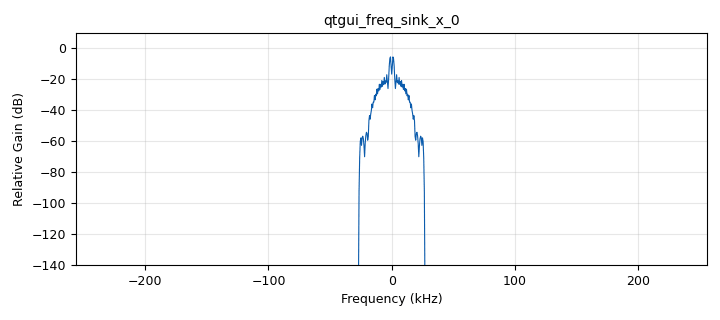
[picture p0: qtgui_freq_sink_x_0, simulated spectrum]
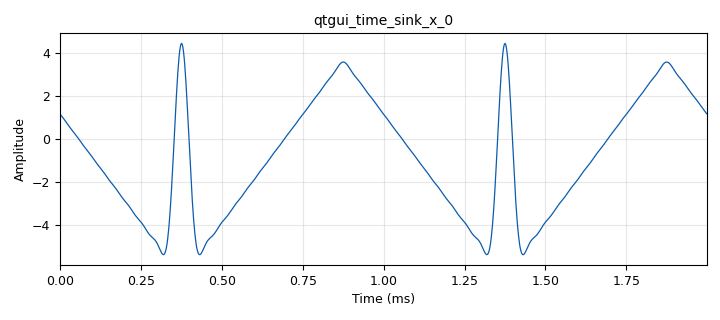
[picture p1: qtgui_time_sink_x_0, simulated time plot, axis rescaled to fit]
options:
  parameters:
    author: gnuradio
    generate_options: qt_gui
    id: untitled1
    output_language: python
    title: Not titled yet
  states: {}

blocks:
- name: samp_rate
  id: variable
  parameters:
    value: '512000'
  states: {}
- name: analog_sig_source_x_0
  id: analog_sig_source_x
  parameters:
    amp: '-5/6'
    freq: '0'
    offset: '0'
    phase: '0'
    samp_rate: samp_rate
    type: float
    waveform: analog.GR_CONST_WAVE
  states: {}
- name: analog_sig_source_x_0_0
  id: analog_sig_source_x
  parameters:
    amp: 1.505*2
    freq: '1000'
    offset: '0'
    phase: '-3.1416'
    samp_rate: samp_rate
    type: float
    waveform: analog.GR_COS_WAVE
  states: {}
- name: analog_sig_source_x_0_0_0
  id: analog_sig_source_x
  parameters:
    amp: 0.5271*2
    freq: '2000'
    offset: '0'
    phase: '0'
    samp_rate: samp_rate
    type: float
    waveform: analog.GR_COS_WAVE
  states: {}
- name: analog_sig_source_x_0_0_0_0
  id: analog_sig_source_x
  parameters:
    amp: 0.2823*2
    freq: '3000'
    offset: '0'
    phase: '0'
    samp_rate: samp_rate
    type: float
    waveform: analog.GR_COS_WAVE
  states: {}
- name: analog_sig_source_x_0_0_0_0_0
  id: analog_sig_source_x
  parameters:
    amp: 0.4853*2
    freq: '4000'
    offset: '0'
    phase: '0'
    samp_rate: samp_rate
    type: float
    waveform: analog.GR_COS_WAVE
  states: {}
- name: analog_sig_source_x_0_0_0_0_0_0
  id: analog_sig_source_x
  parameters:
    amp: 0.3739*2
    freq: '5000'
    offset: '0'
    phase: '0'
    samp_rate: samp_rate
    type: float
    waveform: analog.GR_COS_WAVE
  states: {}
- name: analog_sig_source_x_0_0_0_0_0_0_0
  id: analog_sig_source_x
  parameters:
    amp: 0.4214*2
    freq: '6000'
    offset: '0'
    phase: '0'
    samp_rate: samp_rate
    type: float
    waveform: analog.GR_COS_WAVE
  states: {}
- name: analog_sig_source_x_0_0_0_0_0_0_0_0
  id: analog_sig_source_x
  parameters:
    amp: 0.3420*2
    freq: '7000'
    offset: '0'
    phase: '0'
    samp_rate: samp_rate
    type: float
    waveform: analog.GR_COS_WAVE
  states: {}
- name: analog_sig_source_x_0_0_0_0_0_0_0_0_0
  id: analog_sig_source_x
  parameters:
    amp: 0.3434*2
    freq: '8000'
    offset: '0'
    phase: '0'
    samp_rate: samp_rate
    type: float
    waveform: analog.GR_COS_WAVE
  states: {}
- name: analog_sig_source_x_0_0_0_0_0_0_0_0_0_0
  id: analog_sig_source_x
  parameters:
    amp: 0.2767*2
    freq: '9000'
    offset: '0'
    phase: '0'
    samp_rate: samp_rate
    type: float
    waveform: analog.GR_COS_WAVE
  states: {}
- name: analog_sig_source_x_0_0_0_0_0_0_0_0_0_0_0
  id: analog_sig_source_x
  parameters:
    amp: 0.2603*2
    freq: '10000'
    offset: '0'
    phase: '0'
    samp_rate: samp_rate
    type: float
    waveform: analog.GR_COS_WAVE
  states: {}
- name: analog_sig_source_x_0_0_0_0_0_0_0_0_0_0_0_0
  id: analog_sig_source_x
  parameters:
    amp: 0.2026*2
    freq: '11000'
    offset: '0'
    phase: '0'
    samp_rate: samp_rate
    type: float
    waveform: analog.GR_COS_WAVE
  states: {}
- name: analog_sig_source_x_0_0_0_0_0_0_0_0_0_0_0_0_0
  id: analog_sig_source_x
  parameters:
    amp: 0.1807*2
    freq: '12000'
    offset: '0'
    phase: '0'
    samp_rate: samp_rate
    type: float
    waveform: analog.GR_COS_WAVE
  states: {}
- name: analog_sig_source_x_0_0_0_0_0_0_0_0_0_0_0_0_0_0
  id: analog_sig_source_x
  parameters:
    amp: 0.1326*2
    freq: '13000'
    offset: '0'
    phase: '0'
    samp_rate: samp_rate
    type: float
    waveform: analog.GR_COS_WAVE
  states: {}
- name: analog_sig_source_x_0_0_0_0_0_0_0_0_0_0_0_0_0_0_0
  id: analog_sig_source_x
  parameters:
    amp: 0.1121*2
    freq: '14000'
    offset: '0'
    phase: '0'
    samp_rate: samp_rate
    type: float
    waveform: analog.GR_COS_WAVE
  states: {}
- name: analog_sig_source_x_0_0_0_0_0_0_0_0_0_0_0_1
  id: analog_sig_source_x
  parameters:
    amp: 0.0745*2
    freq: '15000'
    offset: '0'
    phase: '0'
    samp_rate: samp_rate
    type: float
    waveform: analog.GR_COS_WAVE
  states: {}
- name: analog_sig_source_x_0_0_0_0_0_0_0_0_0_0_0_1_0
  id: analog_sig_source_x
  parameters:
    amp: 0.05926*2
    freq: '16000'
    offset: '0'
    phase: '0'
    samp_rate: samp_rate
    type: float
    waveform: analog.GR_COS_WAVE
  states: {}
- name: analog_sig_source_x_0_0_0_0_0_0_0_0_0_0_0_1_0_0
  id: analog_sig_source_x
  parameters:
    amp: 0.03235*2
    freq: '17000'
    offset: '0'
    phase: '0'
    samp_rate: samp_rate
    type: float
    waveform: analog.GR_COS_WAVE
  states: {}
- name: analog_sig_source_x_0_0_0_0_0_0_0_0_0_0_0_1_0_0_0
  id: analog_sig_source_x
  parameters:
    amp: 0.02396*2
    freq: '18000'
    offset: '0'
    phase: '0'
    samp_rate: samp_rate
    type: float
    waveform: analog.GR_COS_WAVE
  states: {}
- name: analog_sig_source_x_0_0_0_0_0_0_0_0_0_0_0_1_0_0_0_0
  id: analog_sig_source_x
  parameters:
    amp: 0.007038*2
    freq: '19000'
    offset: '0'
    phase: '0'
    samp_rate: samp_rate
    type: float
    waveform: analog.GR_COS_WAVE
  states: {}
- name: analog_sig_source_x_0_0_0_0_0_0_0_0_0_0_0_1_0_0_0_0_0
  id: analog_sig_source_x
  parameters:
    amp: 0.00527*2
    freq: '20000'
    offset: '0'
    phase: '0'
    samp_rate: samp_rate
    type: float
    waveform: analog.GR_COS_WAVE
  states: {}
- name: analog_sig_source_x_0_0_0_0_0_0_0_0_0_0_0_1_0_0_0_0_0_0
  id: analog_sig_source_x
  parameters:
    amp: 0.003413*2
    freq: '21000'
    offset: '0'
    phase: '3.142'
    samp_rate: samp_rate
    type: float
    waveform: analog.GR_COS_WAVE
  states: {}
- name: analog_sig_source_x_0_0_0_0_0_0_0_0_0_0_0_1_0_0_0_0_0_0_0
  id: analog_sig_source_x
  parameters:
    amp: 0*2
    freq: '22000'
    offset: '0'
    phase: '0'
    samp_rate: samp_rate
    type: float
    waveform: analog.GR_COS_WAVE
  states: {}
- name: analog_sig_source_x_0_0_0_0_0_0_0_0_0_0_0_1_0_0_0_0_0_0_0_0
  id: analog_sig_source_x
  parameters:
    amp: 0.002846*2
    freq: '23000'
    offset: '0'
    phase: '3.1415'
    samp_rate: samp_rate
    type: float
    waveform: analog.GR_COS_WAVE
  states: {}
- name: analog_sig_source_x_0_0_0_0_0_0_0_0_0_0_0_1_0_0_0_0_0_0_0_0_0
  id: analog_sig_source_x
  parameters:
    amp: 0.00366*2
    freq: '24000'
    offset: '0'
    phase: '0'
    samp_rate: samp_rate
    type: float
    waveform: analog.GR_COS_WAVE
  states: {}
- name: analog_sig_source_x_0_0_0_0_0_0_0_0_0_0_0_1_0_0_0_0_0_0_0_0_0_0
  id: analog_sig_source_x
  parameters:
    amp: 0.004065*2
    freq: '25000'
    offset: '0'
    phase: '0'
    samp_rate: samp_rate
    type: float
    waveform: analog.GR_COS_WAVE
  states: {}
- name: blocks_add_xx_0
  id: blocks_add_xx
  parameters:
    num_inputs: '26'
    type: float
  states: {}
- name: blocks_throttle_0
  id: blocks_throttle
  parameters:
    samples_per_second: samp_rate
    type: float
  states: {}
- name: qtgui_freq_sink_x_0
  id: qtgui_freq_sink_x
  parameters:
    average: '0.05'
    bw: samp_rate
    fc: '0'
    fftsize: '1024'
    type: float
  states: {}
- name: qtgui_time_sink_x_0
  id: qtgui_time_sink_x
  parameters:
    size: '1024'
    srate: samp_rate
    type: float
  states: {}

connections:
- [analog_sig_source_x_0, '0', blocks_add_xx_0, '0']
- [analog_sig_source_x_0_0, '0', blocks_add_xx_0, '1']
- [analog_sig_source_x_0_0_0, '0', blocks_add_xx_0, '2']
- [analog_sig_source_x_0_0_0_0, '0', blocks_add_xx_0, '3']
- [analog_sig_source_x_0_0_0_0_0, '0', blocks_add_xx_0, '4']
- [analog_sig_source_x_0_0_0_0_0_0, '0', blocks_add_xx_0, '5']
- [analog_sig_source_x_0_0_0_0_0_0_0, '0', blocks_add_xx_0, '6']
- [analog_sig_source_x_0_0_0_0_0_0_0_0, '0', blocks_add_xx_0, '7']
- [analog_sig_source_x_0_0_0_0_0_0_0_0_0, '0', blocks_add_xx_0, '8']
- [analog_sig_source_x_0_0_0_0_0_0_0_0_0_0, '0', blocks_add_xx_0, '9']
- [analog_sig_source_x_0_0_0_0_0_0_0_0_0_0_0, '0', blocks_add_xx_0, '10']
- [analog_sig_source_x_0_0_0_0_0_0_0_0_0_0_0_0, '0', blocks_add_xx_0, '11']
- [analog_sig_source_x_0_0_0_0_0_0_0_0_0_0_0_0_0, '0', blocks_add_xx_0, '12']
- [analog_sig_source_x_0_0_0_0_0_0_0_0_0_0_0_0_0_0, '0', blocks_add_xx_0, '13']
- [analog_sig_source_x_0_0_0_0_0_0_0_0_0_0_0_0_0_0_0, '0', blocks_add_xx_0, '14']
- [analog_sig_source_x_0_0_0_0_0_0_0_0_0_0_0_1, '0', blocks_add_xx_0, '15']
- [analog_sig_source_x_0_0_0_0_0_0_0_0_0_0_0_1_0, '0', blocks_add_xx_0, '16']
- [analog_sig_source_x_0_0_0_0_0_0_0_0_0_0_0_1_0_0, '0', blocks_add_xx_0, '17']
- [analog_sig_source_x_0_0_0_0_0_0_0_0_0_0_0_1_0_0_0, '0', blocks_add_xx_0, '18']
- [analog_sig_source_x_0_0_0_0_0_0_0_0_0_0_0_1_0_0_0_0, '0', blocks_add_xx_0, '19']
- [analog_sig_source_x_0_0_0_0_0_0_0_0_0_0_0_1_0_0_0_0_0, '0', blocks_add_xx_0, '20']
- [analog_sig_source_x_0_0_0_0_0_0_0_0_0_0_0_1_0_0_0_0_0_0, '0', blocks_add_xx_0, '21']
- [analog_sig_source_x_0_0_0_0_0_0_0_0_0_0_0_1_0_0_0_0_0_0_0, '0', blocks_add_xx_0, '22']
- [analog_sig_source_x_0_0_0_0_0_0_0_0_0_0_0_1_0_0_0_0_0_0_0_0, '0', blocks_add_xx_0, '23']
- [analog_sig_source_x_0_0_0_0_0_0_0_0_0_0_0_1_0_0_0_0_0_0_0_0_0, '0', blocks_add_xx_0, '24']
- [analog_sig_source_x_0_0_0_0_0_0_0_0_0_0_0_1_0_0_0_0_0_0_0_0_0_0, '0', blocks_add_xx_0, '25']
- [blocks_add_xx_0, '0', blocks_throttle_0, '0']
- [blocks_throttle_0, '0', qtgui_freq_sink_x_0, '0']
- [blocks_throttle_0, '0', qtgui_time_sink_x_0, '0']

metadata:
  file_format: 1
  grc_version: 3.10.5.1
